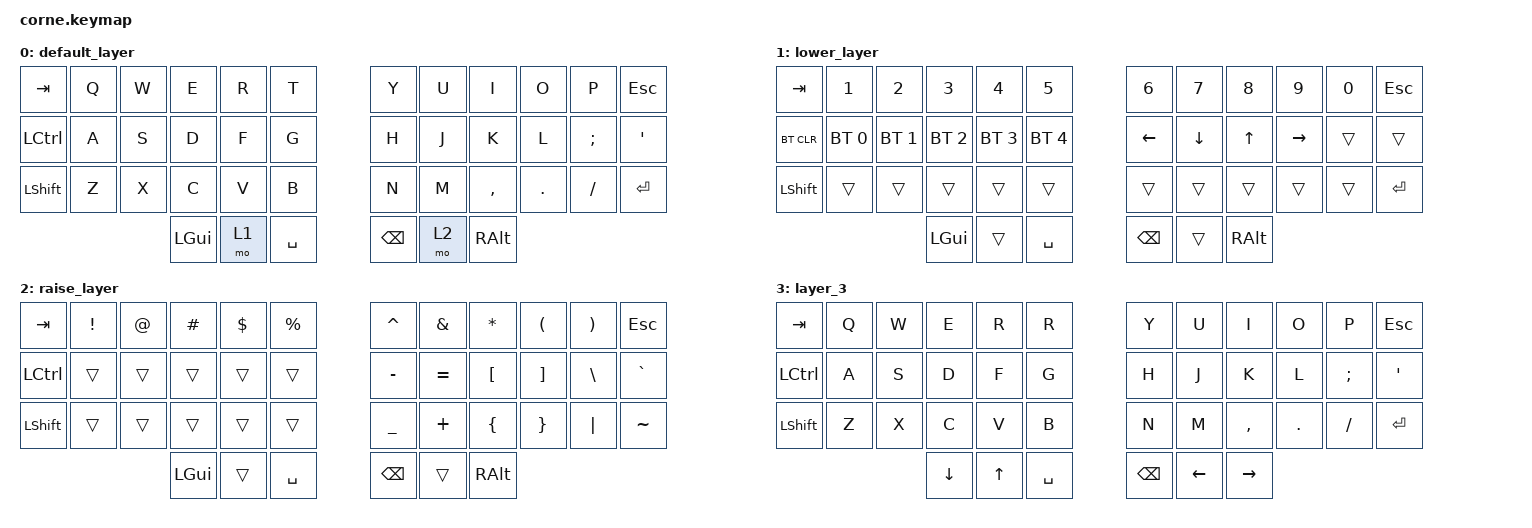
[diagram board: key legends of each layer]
/*
 * Copyright (c) 2020 The ZMK Contributors
 *
 * SPDX-License-Identifier: MIT
 */

#include <behaviors.dtsi>
#include <dt-bindings/zmk/bt.h>
#include <dt-bindings/zmk/keys.h>

/ {
    combos {
        compatible = "zmk,combos";

        layer3 {
            bindings = <&tog 3>;
            key-positions = <37 40>;
        };
    };

    keymap {
        compatible = "zmk,keymap";

        default_layer {
            // -----------------------------------------------------------------------------------------
            // |  TAB |  Q  |  W  |  E  |  R  |  T  |   |  Y  |  U   |  I  |  O  |  P  | BKSP |
            // | CTRL |  A  |  S  |  D  |  F  |  G  |   |  H  |  J   |  K  |  L  |  ;  |  '   |
            // | SHFT |  Z  |  X  |  C  |  V  |  B  |   |  N  |  M   |  ,  |  .  |  /  | ESC  |
            //                    | GUI | LWR | SPC |   | ENT | RSE  | ALT |

            bindings = <
&kp TAB    &kp Q  &kp W  &kp E     &kp R  &kp T        &kp Y          &kp U  &kp I      &kp O    &kp P     &kp ESCAPE
&kp LCTRL  &kp A  &kp S  &kp D     &kp F  &kp G        &kp H          &kp J  &kp K      &kp L    &kp SEMI  &kp SQT
&kp LSHFT  &kp Z  &kp X  &kp C     &kp V  &kp B        &kp N          &kp M  &kp COMMA  &kp DOT  &kp FSLH  &kp ENTER
                         &kp LGUI  &mo 1  &kp SPACE    &kp BACKSPACE  &mo 2  &kp RALT
            >;
        };

        lower_layer {
            // -----------------------------------------------------------------------------------------
            // |  TAB |  1  |  2  |  3  |  4  |  5  |   |  6  |  7  |  8  |  9  |  0  | BKSP |
            // | BTCLR| BT1 | BT2 | BT3 | BT4 | BT5 |   | LFT | DWN |  UP | RGT |     |      |
            // | SHFT |     |     |     |     |     |   |     |     |     |     |     |      |
            //                    | GUI |     | SPC |   | ENT |     | ALT |

            bindings = <
&kp TAB     &kp N1        &kp N2        &kp N3        &kp N4        &kp N5          &kp N6         &kp N7    &kp N8    &kp N9     &kp N0  &kp ESCAPE
&bt BT_CLR  &bt BT_SEL 0  &bt BT_SEL 1  &bt BT_SEL 2  &bt BT_SEL 3  &bt BT_SEL 4    &kp LEFT       &kp DOWN  &kp UP    &kp RIGHT  &trans  &trans
&kp LSHFT   &trans        &trans        &trans        &trans        &trans          &trans         &trans    &trans    &trans     &trans  &kp ENTER
                                        &kp LGUI      &trans        &kp SPACE       &kp BACKSPACE  &trans    &kp RALT
            >;
        };

        raise_layer {
            // -----------------------------------------------------------------------------------------
            // |  TAB |  !  |  @  |  #  |  $  |  %  |   |  ^  |  &  |  *  |  (  |  )  | BKSP |
            // | CTRL |     |     |     |     |     |   |  -  |  =  |  [  |  ]  |  \  |  `   |
            // | SHFT |     |     |     |     |     |   |  _  |  +  |  {  |  }  | "|" |  ~   |
            //                    | GUI |     | SPC |   | ENT |     | ALT |

            bindings = <
&kp TAB    &kp EXCL  &kp AT  &kp HASH  &kp DLLR  &kp PRCNT    &kp CARET      &kp AMPS   &kp ASTRK  &kp LPAR  &kp RPAR  &kp ESCAPE
&kp LCTRL  &trans    &trans  &trans    &trans    &trans       &kp MINUS      &kp EQUAL  &kp LBKT   &kp RBKT  &kp BSLH  &kp GRAVE
&kp LSHFT  &trans    &trans  &trans    &trans    &trans       &kp UNDER      &kp PLUS   &kp LBRC   &kp RBRC  &kp PIPE  &kp TILDE
                             &kp LGUI  &trans    &kp SPACE    &kp BACKSPACE  &trans     &kp RALT
            >;
        };

        layer_3 {
            bindings = <
&kp TAB         &kp Q  &kp W  &kp E     &kp R         &kp R        &kp Y          &kp U     &kp I            &kp O    &kp P     &kp ESC
&kp LCTRL       &kp A  &kp S  &kp D     &kp F         &kp G        &kp H          &kp J     &kp K            &kp L    &kp SEMI  &kp SQT
&kp LEFT_SHIFT  &kp Z  &kp X  &kp C     &kp V         &kp B        &kp N          &kp M     &kp COMMA        &kp DOT  &kp FSLH  &kp ENTER
                              &kp DOWN  &kp UP_ARROW  &kp SPACE    &kp BACKSPACE  &kp LEFT  &kp RIGHT_ARROW
            >;
        };
    };
};
